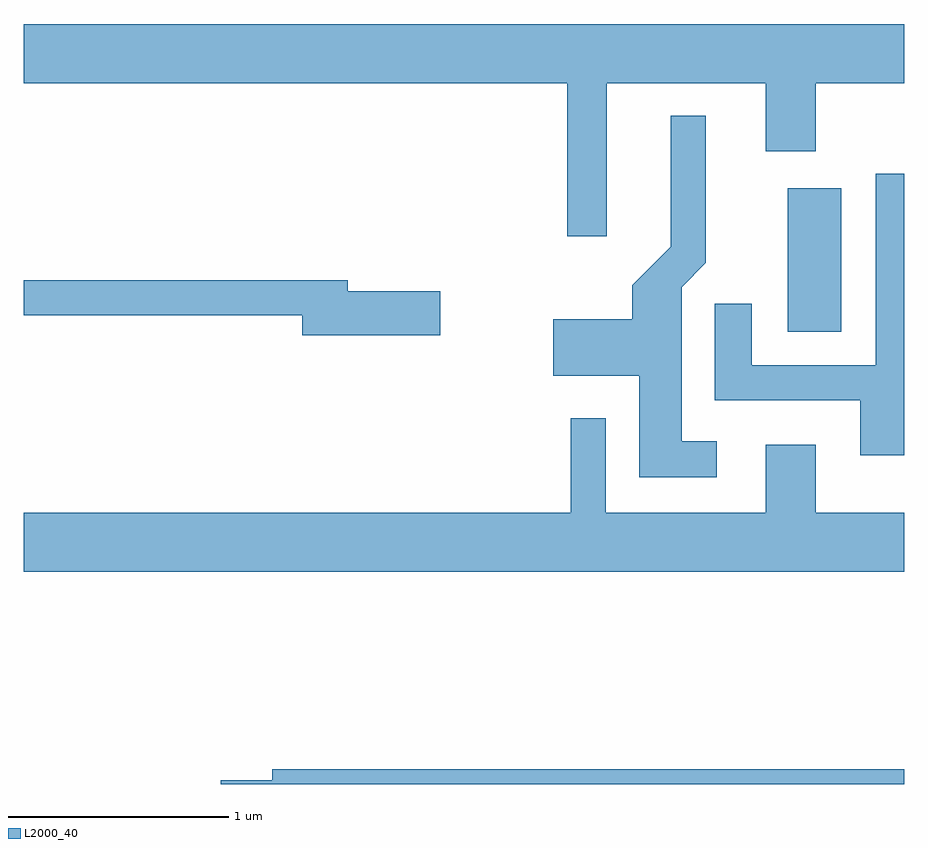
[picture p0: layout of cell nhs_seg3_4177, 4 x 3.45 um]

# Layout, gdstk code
import gdstk
lib = gdstk.Library(unit=1e-6, precision=1e-09)
def R(c, l, rs):  # rectangles x0, y0, x1, y1
    for r in rs: c.add(gdstk.rectangle(r[:2], r[2:], *l))
def P(c, l, *ps):  # polygons
    for p in ps: c.add(gdstk.Polygon(p, *l))
L2000_40 = (2000, 40)

nhs_seg3_4177 = lib.new_cell('nhs_seg3_4177')
R(nhs_seg3_4177, L2000_40, [(311.081,1175.946,311.324,1176.599)])
P(nhs_seg3_4177, L2000_40, [(310.259,1177.076),(310.981,1177.076),(310.981,1176.766),(311.209,1176.766),(311.209,1177.076),(311.611,1177.076),(311.611,1177.344),(307.611,1177.344),(307.611,1177.076),(310.081,1177.076),(310.081,1176.381),(310.259,1176.381)],
  [(310.758,1175.449),(310.599,1175.449),(310.599,1176.149),(310.709,1176.259),(310.709,1176.928),(310.551,1176.928),(310.551,1176.332),(310.376,1176.157),(310.376,1176.004),(310.016,1176.004),(310.016,1175.746),(310.406,1175.746),(310.406,1175.286),(310.758,1175.286)],
  [(311.611,1176.664),(311.481,1176.664),(311.481,1175.794),(310.919,1175.794),(310.919,1176.073),(310.751,1176.073),(310.751,1175.636),(311.411,1175.636),(311.411,1175.386),(311.611,1175.386)],
  [(309.504,1176.129),(309.084,1176.129),(309.084,1176.179),(307.611,1176.179),(307.611,1176.021),(308.876,1176.021),(308.876,1175.931),(309.504,1175.931)],
  [(311.611,1175.124),(311.209,1175.124),(311.209,1175.434),(310.981,1175.434),(310.981,1175.124),(310.254,1175.124),(310.254,1175.553),(310.096,1175.553),(310.096,1175.124),(307.611,1175.124),(307.611,1174.856),(311.611,1174.856)],
  [(311.611,1173.959),(308.741,1173.959),(308.741,1173.909),(308.506,1173.909),(308.506,1173.892),(311.611,1173.892)])

lib.write_gds('nhs_seg3_4177.gds')
